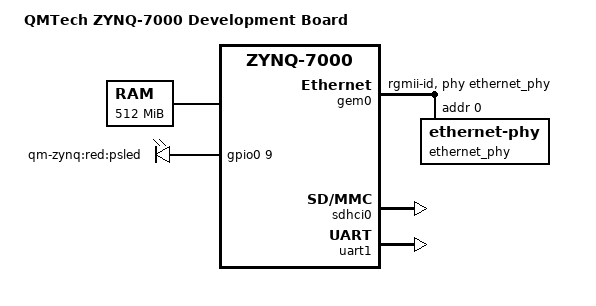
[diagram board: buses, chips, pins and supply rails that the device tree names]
// SPDX-License-Identifier: GPL-2.0+
/*
 *  Copyright (C) 2011 - 2015 Xilinx
 *  Copyright (C) 2012 National Instruments Corp.
 */
/dts-v1/;
#include "zynq-7000.dtsi"
#include <dt-bindings/gpio/gpio.h>

/ {
	model = "QMTech ZYNQ-7000 Development Board";
	compatible = "digilent,zynq-zybo-z7", "xlnx,zynq-7000";

	aliases {
		ethernet0 = &gem0;
		serial0 = &uart1;
		mmc0 = &sdhci0;
	};

	memory@0 {
		device_type = "memory";
		reg = <0x0 0x20000000>;
	};

	chosen {
		bootargs = "";
		stdout-path = "serial0:115200n8";
	};

	gpio-leds {
		compatible = "gpio-leds";

		ld4 {
			label = "qm-zynq:red:psled";
			gpios = <&gpio0 9 GPIO_ACTIVE_HIGH>;
		};
	};
};

&clkc {
	ps-clk-frequency = <33333333>;
};

&gem0 {
	status = "okay";
	phy-mode = "rgmii-id";
	phy-handle = <&ethernet_phy>;

	ethernet_phy: ethernet-phy@0 {
		reg = <0>;
		device_type = "ethernet-phy";
	};
};

&sdhci0 {
	u-boot,dm-pre-reloc;
	status = "okay";
};

&uart1 {
	u-boot,dm-pre-reloc;
	status = "okay";
};

